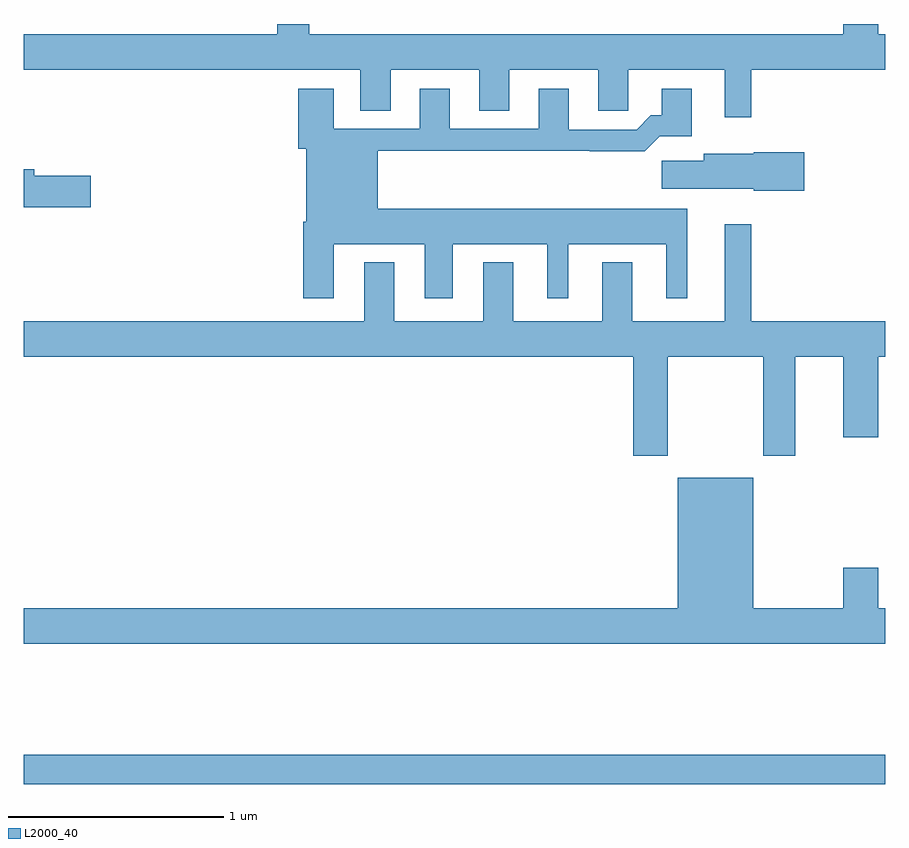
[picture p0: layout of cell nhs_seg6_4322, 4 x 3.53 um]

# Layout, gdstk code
import gdstk
lib = gdstk.Library(unit=1e-6, precision=1e-09)
def R(c, l, rs):  # rectangles x0, y0, x1, y1
    for r in rs: c.add(gdstk.rectangle(r[:2], r[2:], *l))
def P(c, l, *ps):  # polygons
    for p in ps: c.add(gdstk.Polygon(p, *l))
L2000_40 = (2000, 40)

nhs_seg6_4322 = lib.new_cell('nhs_seg6_4322')
R(nhs_seg6_4322, L2000_40, [(365,991.972,369,992.108)])
P(nhs_seg6_4322, L2000_40, [(368.377,995.288),(369,995.288),(369,995.452),(368.968,995.452),(368.968,995.5),(368.804,995.5),(368.804,995.452),(366.325,995.452),(366.325,995.5),(366.178,995.5),(366.178,995.452),(365,995.452),(365,995.288),(366.563,995.288),(366.563,995.098),(366.703,995.098),(366.703,995.288),(367.115,995.288),(367.115,995.098),(367.255,995.098),(367.255,995.288),(367.667,995.288),(367.667,995.098),(367.806,995.098),(367.806,995.288),(368.255,995.288),(368.255,995.067),(368.377,995.067)],
  [(366.439,994.478),(366.863,994.478),(366.863,994.227),(366.991,994.227),(366.991,994.478),(367.43,994.478),(367.43,994.227),(367.528,994.227),(367.528,994.478),(367.982,994.478),(367.982,994.227),(368.08,994.227),(368.08,994.642),(366.643,994.642),(366.643,994.912),(367.627,994.912),(367.627,994.91),(367.883,994.91),(367.952,994.979),(368.101,994.979),(368.101,995.2),(367.961,995.2),(367.961,995.077),(367.912,995.077),(367.845,995.01),(367.531,995.01),(367.531,995.2),(367.391,995.2),(367.391,995.013),(366.979,995.013),(366.979,995.2),(366.839,995.2),(366.839,995.013),(366.439,995.013),(366.439,995.2),(366.275,995.2),(366.275,994.92),(366.311,994.92),(366.311,994.582),(366.299,994.582),(366.299,994.227),(366.439,994.227)],
  [(368.623,994.905),(368.388,994.905),(368.388,994.897),(368.156,994.897),(368.156,994.865),(367.962,994.865),(367.962,994.736),(368.388,994.736),(368.388,994.727),(368.623,994.727)],
  [(365.311,994.796),(365.05,994.796),(365.05,994.825),(365,994.825),(365,994.649),(365.311,994.649)],
  [(367.989,993.956),(368.434,993.956),(368.434,993.495),(368.581,993.495),(368.581,993.956),(368.804,993.956),(368.804,993.582),(368.968,993.582),(368.968,993.956),(369,993.956),(369,994.12),(368.377,994.12),(368.377,994.57),(368.255,994.57),(368.255,994.12),(367.825,994.12),(367.825,994.393),(367.685,994.393),(367.685,994.12),(367.273,994.12),(367.273,994.393),(367.133,994.393),(367.133,994.12),(366.721,994.12),(366.721,994.393),(366.581,994.393),(366.581,994.12),(365,994.12),(365,993.956),(367.829,993.956),(367.829,993.495),(367.989,993.495)],
  [(369,992.788),(368.968,992.788),(368.968,992.977),(368.804,992.977),(368.804,992.788),(368.386,992.788),(368.386,993.394),(368.036,993.394),(368.036,992.788),(365,992.788),(365,992.624),(369,992.624)])

lib.write_gds('nhs_seg6_4322.gds')
